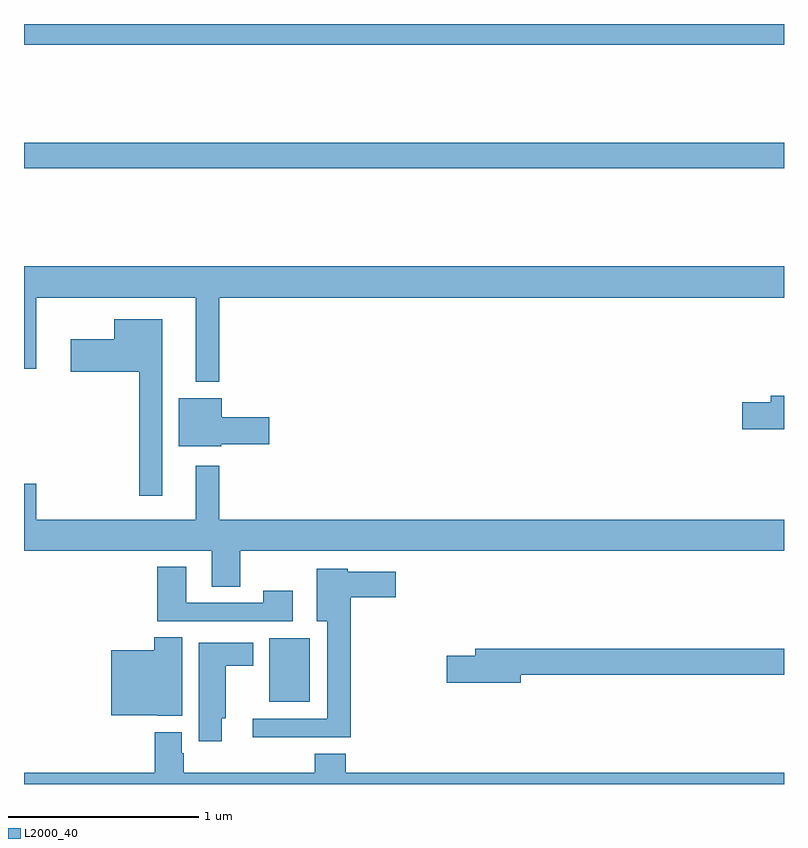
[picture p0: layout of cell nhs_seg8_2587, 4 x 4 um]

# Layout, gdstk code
import gdstk
lib = gdstk.Library(unit=1e-6, precision=1e-09)
def R(c, l, rs):  # rectangles x0, y0, x1, y1
    for r in rs: c.add(gdstk.rectangle(r[:2], r[2:], *l))
def P(c, l, *ps):  # polygons
    for p in ps: c.add(gdstk.Polygon(p, *l))
L2000_40 = (2000, 40)

nhs_seg8_2587 = lib.new_cell('nhs_seg8_2587')
R(nhs_seg8_2587, L2000_40, [(274.292,1154.333,274.504,1154.668), (273,1157.14,277,1157.276), (273,1157.792,277,1157.9)])
P(nhs_seg8_2587, L2000_40, [(274.027,1156.46),(277,1156.46),(277,1156.624),(273,1156.624),(273,1156.086),(273.064,1156.086),(273.064,1156.46),(273.905,1156.46),(273.905,1156.016),(274.027,1156.016)],
  [(273.727,1156.345),(273.476,1156.345),(273.476,1156.24),(273.246,1156.24),(273.246,1156.07),(273.606,1156.07),(273.606,1155.417),(273.727,1155.417)],
  [(277,1155.944),(276.929,1155.944),(276.929,1155.908),(276.78,1155.908),(276.78,1155.766),(277,1155.766)],
  [(274.038,1155.688),(274.291,1155.688),(274.291,1155.83),(274.042,1155.83),(274.042,1155.931),(273.815,1155.931),(273.815,1155.677),(274.038,1155.677)],
  [(274.137,1155.128),(277,1155.128),(277,1155.292),(274.027,1155.292),(274.027,1155.574),(273.905,1155.574),(273.905,1155.292),(273.064,1155.292),(273.064,1155.481),(273,1155.481),(273,1155.128),(273.989,1155.128),(273.989,1154.938),(274.137,1154.938)],
  [(274.414,1154.917),(274.258,1154.917),(274.258,1154.853),(273.853,1154.853),(273.853,1155.043),(273.701,1155.043),(273.701,1154.757),(274.414,1154.757)],
  [(274.721,1154.882),(274.957,1154.882),(274.957,1155.016),(274.704,1155.016),(274.704,1155.034),(274.541,1155.034),(274.541,1154.756),(274.595,1154.756),(274.595,1154.244),(274.203,1154.244),(274.203,1154.147),(274.721,1154.147)],
  [(273.832,1154.672),(273.686,1154.672),(273.686,1154.605),(273.458,1154.605),(273.458,1154.261),(273.702,1154.261),(273.702,1154.258),(273.832,1154.258)],
  [(274.042,1154.247),(274.063,1154.247),(274.063,1154.522),(274.207,1154.522),(274.207,1154.644),(273.92,1154.644),(273.92,1154.124),(274.042,1154.124)],
  [(275.614,1154.476),(277,1154.476),(277,1154.612),(275.375,1154.612),(275.375,1154.576),(275.226,1154.576),(275.226,1154.434),(275.614,1154.434)],
  [(277,1153.96),(274.694,1153.96),(274.694,1154.059),(274.529,1154.059),(274.529,1153.96),(273.842,1153.96),(273.842,1154.061),(273.829,1154.061),(273.829,1154.173),(273.689,1154.173),(273.689,1153.96),(273,1153.96),(273,1153.9),(277,1153.9)])

lib.write_gds('nhs_seg8_2587.gds')
